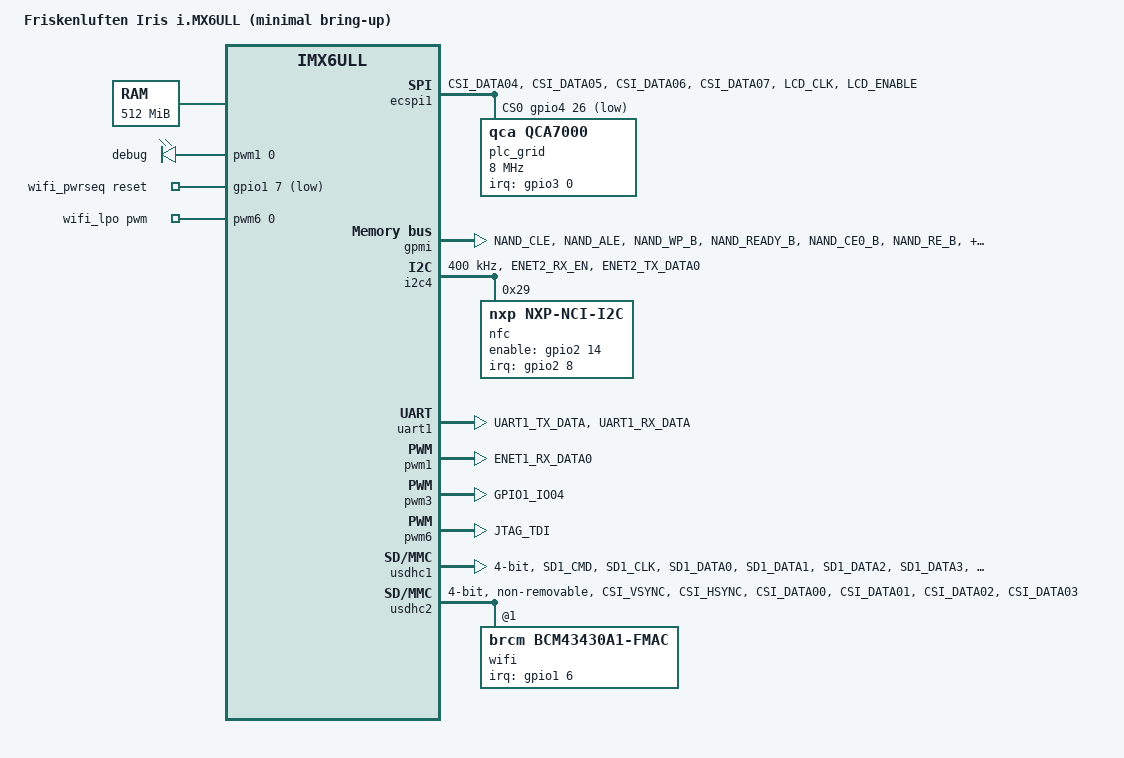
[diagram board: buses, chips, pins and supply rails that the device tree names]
// SPDX-License-Identifier: (GPL-2.0 OR MIT)

/dts-v1/;

#include "imx6ull.dtsi"
#include <dt-bindings/gpio/gpio.h>
#include <dt-bindings/interrupt-controller/irq.h>

/ {
	model = "Friskenluften Iris i.MX6ULL (minimal bring-up)";
	compatible = "friskenluften,imx6ull-iris", "fsl,imx6ull";

	aliases {
		mmc0 = &usdhc1;
		mmc1 = &usdhc2;
		serial0 = &uart1;
	};

	chosen {
		stdout-path = "serial0:115200n8";
	};

	memory@80000000 {
		device_type = "memory";
		reg = <0x80000000 0x20000000>;
	};

	leds {
		compatible = "pwm-leds";

		debug {
			label = "debug";
			pwms = <&pwm1 0 1000000 0>;
			max-brightness = <255>;
			default-state = "off";
		};
	};

	wifi_pwrseq: wifi-pwrseq {
		compatible = "mmc-pwrseq-simple";
		pinctrl-names = "default";
		pinctrl-0 = <&pinctrl_wifi_ctrl>;
		reset-gpios = <&gpio1 7 GPIO_ACTIVE_LOW>;
		clocks = <&wifi_lpo>;
		clock-names = "ext_clock";
	};

	wifi_lpo: wifi-lpo-clock {
		compatible = "pwm-clock";
		#clock-cells = <0>;
		pwms = <&pwm6 0 30517 0>;
		clock-frequency = <32768>;
	};
};

&iomuxc {
	pinctrl_uart1: uart1grp {
		fsl,pins = <
			MX6UL_PAD_UART1_TX_DATA__UART1_DCE_TX	0xb0b1
			MX6UL_PAD_UART1_RX_DATA__UART1_DCE_RX	0x1b081
		>;
	};

	pinctrl_usdhc1: usdhc1grp {
		fsl,pins = <
			MX6UL_PAD_SD1_CMD__USDHC1_CMD		0x17059
			MX6UL_PAD_SD1_CLK__USDHC1_CLK		0x10059
			MX6UL_PAD_SD1_DATA0__USDHC1_DATA0	0x17059
			MX6UL_PAD_SD1_DATA1__USDHC1_DATA1	0x17059
			MX6UL_PAD_SD1_DATA2__USDHC1_DATA2	0x17059
			MX6UL_PAD_SD1_DATA3__USDHC1_DATA3	0x17059
			MX6UL_PAD_ENET1_RX_DATA1__GPIO2_IO01	0x10000
		>;
	};

	pinctrl_usdhc2: usdhc2grp {
		fsl,pins = <
			MX6UL_PAD_CSI_VSYNC__USDHC2_CLK		0x48
			MX6UL_PAD_CSI_HSYNC__USDHC2_CMD		0x17048
			MX6UL_PAD_CSI_DATA00__USDHC2_DATA0	0x17048
			MX6UL_PAD_CSI_DATA01__USDHC2_DATA1	0x17048
			MX6UL_PAD_CSI_DATA02__USDHC2_DATA2	0x17048
			MX6UL_PAD_CSI_DATA03__USDHC2_DATA3	0x17048
		>;
	};

	pinctrl_wifi_ctrl: wifictrlgrp {
		fsl,pins = <
			MX6UL_PAD_GPIO1_IO06__GPIO1_IO06	0x1b001
			MX6UL_PAD_GPIO1_IO07__GPIO1_IO07	0x10
		>;
	};

	pinctrl_i2c4: i2c4grp {
		fsl,pins = <
			MX6UL_PAD_ENET2_RX_EN__I2C4_SCL		0x40010849
			MX6UL_PAD_ENET2_TX_DATA0__I2C4_SDA	0x40010849
		>;
	};

	pinctrl_nfc: nfcgrp {
		fsl,pins = <
			MX6UL_PAD_ENET2_RX_DATA0__GPIO2_IO08	0x10041
			MX6UL_PAD_ENET2_TX_CLK__GPIO2_IO14	0x3010
		>;
	};

	pinctrl_ecspi1: ecspi1grp {
		fsl,pins = <
			MX6UL_PAD_CSI_DATA04__ECSPI1_SCLK	0x59
			MX6UL_PAD_CSI_DATA05__GPIO4_IO26	0x58
			MX6UL_PAD_CSI_DATA06__ECSPI1_MOSI	0x59
			MX6UL_PAD_CSI_DATA07__ECSPI1_MISO	0x10041
			MX6UL_PAD_LCD_CLK__GPIO3_IO00		0x10041
			MX6UL_PAD_LCD_ENABLE__GPIO3_IO01	0xb010
		>;
	};

	pinctrl_gpmi_nand: gpminandgrp {
		fsl,pins = <
			MX6UL_PAD_NAND_CLE__RAWNAND_CLE		0xb0b1
			MX6UL_PAD_NAND_ALE__RAWNAND_ALE		0xb0b1
			MX6UL_PAD_NAND_WP_B__RAWNAND_WP_B	0xb0b1
			MX6UL_PAD_NAND_READY_B__RAWNAND_READY_B	0xb000
			MX6UL_PAD_NAND_CE0_B__RAWNAND_CE0_B	0xb0b1
			MX6UL_PAD_NAND_RE_B__RAWNAND_RE_B	0xb0b1
			MX6UL_PAD_NAND_WE_B__RAWNAND_WE_B	0xb0b1
			MX6UL_PAD_NAND_DATA00__RAWNAND_DATA00	0xb0b1
			MX6UL_PAD_NAND_DATA01__RAWNAND_DATA01	0xb0b1
			MX6UL_PAD_NAND_DATA02__RAWNAND_DATA02	0xb0b1
			MX6UL_PAD_NAND_DATA03__RAWNAND_DATA03	0xb0b1
			MX6UL_PAD_NAND_DATA04__RAWNAND_DATA04	0xb0b1
			MX6UL_PAD_NAND_DATA05__RAWNAND_DATA05	0xb0b1
			MX6UL_PAD_NAND_DATA06__RAWNAND_DATA06	0xb0b1
			MX6UL_PAD_NAND_DATA07__RAWNAND_DATA07	0xb0b1
		>;
	};

	pinctrl_pwm1: pwm1grp {
		fsl,pins = <
			MX6UL_PAD_ENET1_RX_DATA0__PWM1_OUT	0x110b0
		>;
	};

	pinctrl_pwm3: pwm3grp {
		fsl,pins = <
			MX6UL_PAD_GPIO1_IO04__PWM3_OUT		0x10
		>;
	};

	pinctrl_pwm6: pwm6grp {
		fsl,pins = <
			MX6UL_PAD_JTAG_TDI__PWM6_OUT		0x3090
		>;
	};
};

&ecspi1 {
	pinctrl-names = "default";
	pinctrl-0 = <&pinctrl_ecspi1>;
	cs-gpios = <&gpio4 26 GPIO_ACTIVE_LOW>;
	status = "okay";

	plc_grid: ethernet@0 {
		compatible = "qca,qca7000";
		reg = <0>;
		interrupt-parent = <&gpio3>;
		interrupts = <0 IRQ_TYPE_EDGE_RISING>;
		spi-cpha;
		spi-cpol;
		spi-max-frequency = <8000000>;
	};
};

&gpmi {
	pinctrl-names = "default";
	pinctrl-0 = <&pinctrl_gpmi_nand>;
	status = "okay";

	partitions {
		compatible = "fixed-partitions";
		#address-cells = <1>;
		#size-cells = <1>;

		partition@0 {
			label = "boot";
			reg = <0x00000000 0x00400000>;
			read-only;
		};

		partition@400000 {
			label = "ubi";
			reg = <0x00400000 0x1fc00000>;
		};
	};
};

&i2c4 {
	clock-frequency = <400000>;
	pinctrl-names = "default";
	pinctrl-0 = <&pinctrl_i2c4>;
	status = "okay";

	nfc@29 {
		compatible = "nxp,nxp-nci-i2c";
		reg = <0x29>;
		pinctrl-names = "default";
		pinctrl-0 = <&pinctrl_nfc>;
		interrupt-parent = <&gpio2>;
		interrupts = <8 IRQ_TYPE_EDGE_RISING>;
		enable-gpios = <&gpio2 14 GPIO_ACTIVE_HIGH>;
	};
};

&uart1 {
	pinctrl-names = "default";
	pinctrl-0 = <&pinctrl_uart1>;
	status = "okay";
};

&pwm1 {
	pinctrl-names = "default";
	pinctrl-0 = <&pinctrl_pwm1>;
	status = "okay";
};

/* Buzzer; tones are generated from userspace through the PWM sysfs interface. */
&pwm3 {
	pinctrl-names = "default";
	pinctrl-0 = <&pinctrl_pwm3>;
	status = "okay";
};

&pwm6 {
	pinctrl-names = "default";
	pinctrl-0 = <&pinctrl_pwm6>;
	status = "okay";
};

&usdhc1 {
	pinctrl-names = "default";
	pinctrl-0 = <&pinctrl_usdhc1>;
	bus-width = <4>;
	cd-gpios = <&gpio2 1 GPIO_ACTIVE_LOW>;
	no-1-8-v;
	max-frequency = <50000000>;
	status = "okay";
};

&usdhc2 {
	pinctrl-names = "default";
	pinctrl-0 = <&pinctrl_usdhc2>;
	bus-width = <4>;
	no-1-8-v;
	non-removable;
	cap-power-off-card;
	mmc-pwrseq = <&wifi_pwrseq>;
	max-frequency = <25000000>;
	#address-cells = <1>;
	#size-cells = <0>;
	status = "okay";

	wifi@1 {
		compatible = "brcm,bcm43430a1-fmac", "brcm,bcm4329-fmac";
		reg = <1>;
		brcm,board-type = "MUR1DX";
		interrupt-parent = <&gpio1>;
		interrupts = <6 IRQ_TYPE_LEVEL_LOW>;
		interrupt-names = "host-wake";
	};
};
